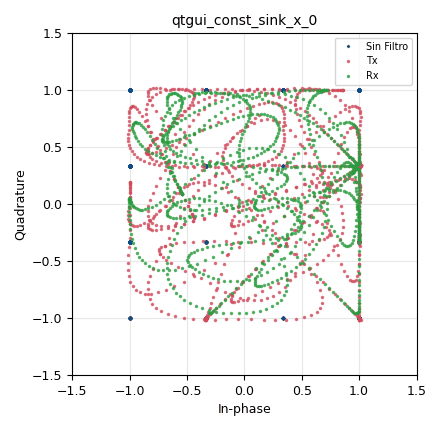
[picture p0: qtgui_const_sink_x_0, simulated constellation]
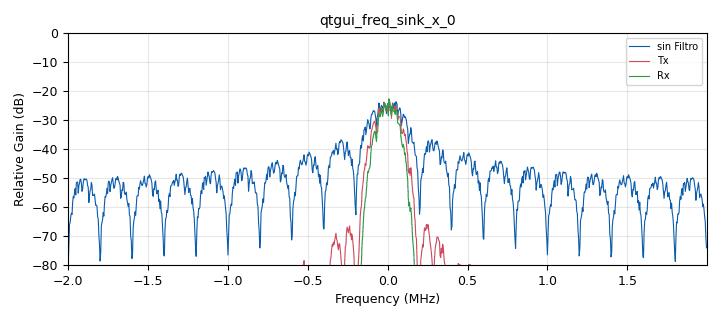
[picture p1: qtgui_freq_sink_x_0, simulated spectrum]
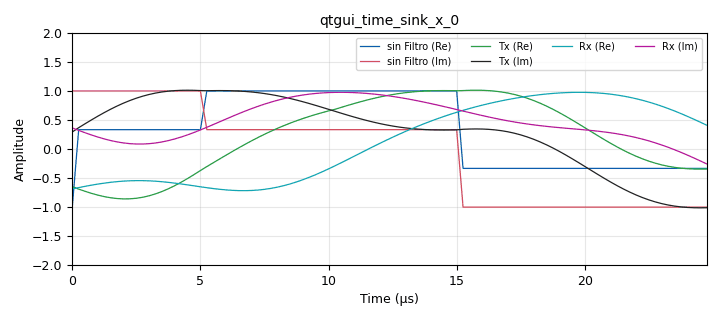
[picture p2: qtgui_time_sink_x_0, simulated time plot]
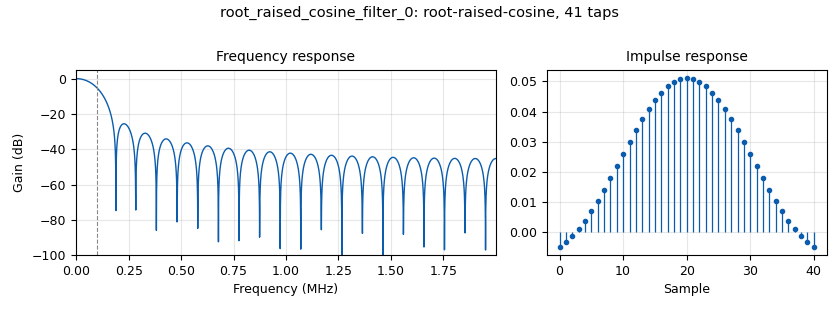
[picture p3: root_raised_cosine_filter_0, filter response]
options:
  parameters:
    author: Marcelo Doallo
    generate_options: qt_gui
    id: QPSK_QAM_Tx
    output_language: python
    title: QPSK - 16/64/1024-QAM Tx
  states: {}

blocks:
- name: Alpha
  id: variable
  parameters:
    value: '0.5'
  states: {}
- name: Freq
  id: variable_qtgui_entry
  parameters:
    gui_hint: 0,2,1,1
    label: 'Frec [MHz]:'
    type: real
    value: '40'
  states: {}
- name: IF_Gain
  id: variable_qtgui_range
  parameters:
    gui_hint: 0,0,1,1
    start: '0'
    step: '1'
    stop: '50'
    value: '0'
    widget: counter
  states: {}
- name: Mod
  id: variable_qtgui_chooser
  parameters:
    gui_hint: 0,3,1,1
    label: Tipo de Modulación
    label0: QPSK
    label1: 16-QAM
    label2: 64-QAM
    label3: 1024-QAM
    num_opts: '4'
    option0: '1'
    option1: '2'
    option2: '3'
    option3: '4'
    type: int
    value: '2'
  states: {}
- name: RF_Gain
  id: variable_qtgui_check_box
  parameters:
    'false': '0'
    gui_hint: 0,1,1,1
    label: RF Gain (13 dB)
    'true': '13'
    type: int
    value: 'False'
  states: {}
- name: samp_rate
  id: variable
  parameters:
    value: '4000000'
  states: {}
- name: sdr
  id: variable_qtgui_chooser
  parameters:
    gui_hint: 0,4,1,1
    label: Filtro RC
    label0: Sin
    label1: Con
    num_opts: '2'
    option0: '0'
    option1: '1'
    type: int
    value: '0'
  states: {}
- name: sps
  id: variable
  parameters:
    comment: Samples per symbol
    value: '20'
  states: {}
- name: taps
  id: variable
  parameters:
    value: sps*2
  states: {}
- name: analog_random_source_x_0
  id: analog_random_source_x
  parameters:
    max: '2'
    min: '0'
    num_samps: '1000'
    repeat: 'True'
    type: byte
  states: {}
- name: analog_random_source_x_0_0
  id: analog_random_source_x
  parameters:
    max: '4'
    min: '0'
    num_samps: '1000'
    repeat: 'True'
    type: byte
  states: {}
- name: analog_random_source_x_0_0_0
  id: analog_random_source_x
  parameters:
    max: '8'
    min: '0'
    num_samps: '1000'
    repeat: 'True'
    type: byte
  states: {}
- name: analog_random_source_x_0_0_0_0
  id: analog_random_source_x
  parameters:
    max: '16'
    min: '0'
    num_samps: '1000'
    repeat: 'True'
    type: byte
  states: {}
- name: blocks_add_const_vxx_0
  id: blocks_add_const_vxx
  parameters:
    const: '-1-1j'
    type: complex
  states: {}
- name: blocks_char_to_float_0
  id: blocks_char_to_float
  parameters:
    scale: (2**Mod-1)/2
  states: {}
- name: blocks_char_to_float_0_0
  id: blocks_char_to_float
  parameters:
    scale: (2**Mod-1)/2
  states: {}
- name: blocks_deinterleave_0
  id: blocks_deinterleave
  parameters:
    type: byte
  states: {}
- name: blocks_float_to_complex_1
  id: blocks_float_to_complex
  parameters: {}
  states: {}
- name: blocks_repeat_0
  id: blocks_repeat
  parameters:
    interp: sps
    type: complex
  states: {}
- name: blocks_selector_0
  id: blocks_selector
  parameters:
    enabled: 'True'
    input_index: Mod-1
    num_inputs: '4'
    num_outputs: '1'
    output_index: '0'
    type: byte
  states: {}
- name: blocks_selector_0_0
  id: blocks_selector
  parameters:
    enabled: 'True'
    input_index: sdr
    num_inputs: '2'
    num_outputs: '1'
    output_index: '0'
    type: complex
  states: {}
- name: osmosdr_sink_0
  id: osmosdr_sink
  parameters:
    bb_gain0: '0'
    freq0: Freq*1e6
    gain0: RF_Gain
    if_gain0: IF_Gain
    sample_rate: samp_rate
    sync: pc_clock
    type: fc32
  states: {}
- name: qtgui_const_sink_x_0
  id: qtgui_const_sink_x
  parameters:
    grid: 'True'
    gui_hint: tab@2:0,0,1,1
    label1: Sin Filtro
    label2: Tx
    label3: Rx
    nconnections: '3'
    size: '1024'
    style1: '1'
    type: complex
    xmax: '1.5'
    xmin: '-1.5'
    ymax: '1.5'
    ymin: '-1.5'
  states: {}
- name: qtgui_freq_sink_x_0
  id: qtgui_freq_sink_x
  parameters:
    average: '0.05'
    bw: samp_rate
    ctrlpanel: 'True'
    fc: '0'
    fftsize: '1024'
    gui_hint: tab@1:0,0,1,1
    label1: sin Filtro
    label2: Tx
    label3: Rx
    nconnections: '3'
    type: complex
    ymax: '0'
    ymin: '-80'
  states: {}
- name: qtgui_time_sink_x_0
  id: qtgui_time_sink_x
  parameters:
    ctrlpanel: 'True'
    gui_hint: tab@0:0,0,1,1
    label1: sin Filtro (Re)
    label2: sin Filtro (Im)
    label3: Tx (Re)
    label4: Tx (Im)
    label5: Rx (Re)
    label6: Rx (Im)
    nconnections: '3'
    size: sps*5
    srate: samp_rate
    tr_mode: qtgui.TRIG_MODE_AUTO
    type: complex
    ymax: '2'
    ymin: '-2'
  states: {}
- name: root_raised_cosine_filter_0
  id: root_raised_cosine_filter
  parameters:
    alpha: Alpha
    gain: '1'
    interp: '1'
    ntaps: taps
    samp_rate: samp_rate
    sym_rate: samp_rate/sps
    type: interp_fir_filter_ccf
  states: {}
- name: root_raised_cosine_filter_0_0
  id: root_raised_cosine_filter
  parameters:
    alpha: Alpha
    decim: '1'
    gain: '1'
    ntaps: taps
    samp_rate: samp_rate
    sym_rate: samp_rate/sps
    type: fir_filter_ccf
  states: {}
- name: tab
  id: qtgui_tab_widget
  parameters:
    gui_hint: 1,0,5,5
    label0: Tiempo
    label1: Espectro
    label2: Constelación
    num_tabs: '3'
  states: {}
- name: virtual_sink_0
  id: virtual_sink
  parameters:
    stream_id: sigue
  states: {}
- name: virtual_sink_0_1
  id: virtual_sink
  parameters:
    stream_id: sigue_2
  states: {}
- name: virtual_sink_0_1_0
  id: virtual_sink
  parameters:
    stream_id: con_RRCF
  states: {}
- name: virtual_sink_0_1_0_0
  id: virtual_sink
  parameters:
    stream_id: con_2RRCF
  states: {}
- name: virtual_sink_0_1_0_1
  id: virtual_sink
  parameters:
    stream_id: sin_filtro
  states: {}
- name: virtual_source_0
  id: virtual_source
  parameters:
    stream_id: sigue
  states: {}
- name: virtual_source_0_1
  id: virtual_source
  parameters:
    stream_id: sigue_2
  states: {}
- name: virtual_source_0_1_0
  id: virtual_source
  parameters:
    stream_id: con_RRCF
  states: {}
- name: virtual_source_0_1_0_0
  id: virtual_source
  parameters:
    stream_id: con_RRCF
  states: {}
- name: virtual_source_0_1_0_1
  id: virtual_source
  parameters:
    stream_id: con_RRCF
  states: {}
- name: virtual_source_0_1_0_1_0
  id: virtual_source
  parameters:
    stream_id: con_2RRCF
  states: {}
- name: virtual_source_0_1_0_1_0_0
  id: virtual_source
  parameters:
    stream_id: con_2RRCF
  states: {}
- name: virtual_source_0_1_0_1_1
  id: virtual_source
  parameters:
    stream_id: con_RRCF
  states: {}
- name: virtual_source_0_1_1
  id: virtual_source
  parameters:
    stream_id: sin_filtro
  states: {}
- name: virtual_source_0_1_1_0
  id: virtual_source
  parameters:
    stream_id: sin_filtro
  states: {}

connections:
- [analog_random_source_x_0, '0', blocks_selector_0, '0']
- [analog_random_source_x_0_0, '0', blocks_selector_0, '1']
- [analog_random_source_x_0_0_0, '0', blocks_selector_0, '2']
- [analog_random_source_x_0_0_0_0, '0', blocks_selector_0, '3']
- [blocks_add_const_vxx_0, '0', blocks_repeat_0, '0']
- [blocks_char_to_float_0, '0', blocks_float_to_complex_1, '0']
- [blocks_char_to_float_0_0, '0', blocks_float_to_complex_1, '1']
- [blocks_deinterleave_0, '0', blocks_char_to_float_0, '0']
- [blocks_deinterleave_0, '1', blocks_char_to_float_0_0, '0']
- [blocks_float_to_complex_1, '0', virtual_sink_0, '0']
- [blocks_repeat_0, '0', qtgui_time_sink_x_0, '0']
- [blocks_repeat_0, '0', virtual_sink_0_1, '0']
- [blocks_selector_0, '0', blocks_deinterleave_0, '0']
- [blocks_selector_0_0, '0', osmosdr_sink_0, '0']
- [root_raised_cosine_filter_0, '0', root_raised_cosine_filter_0_0, '0']
- [root_raised_cosine_filter_0, '0', virtual_sink_0_1_0, '0']
- [root_raised_cosine_filter_0_0, '0', qtgui_time_sink_x_0, '2']
- [root_raised_cosine_filter_0_0, '0', virtual_sink_0_1_0_0, '0']
- [virtual_source_0, '0', blocks_add_const_vxx_0, '0']
- [virtual_source_0_1, '0', blocks_selector_0_0, '0']
- [virtual_source_0_1, '0', root_raised_cosine_filter_0, '0']
- [virtual_source_0_1, '0', virtual_sink_0_1_0_1, '0']
- [virtual_source_0_1_0, '0', qtgui_time_sink_x_0, '1']
- [virtual_source_0_1_0_0, '0', qtgui_freq_sink_x_0, '1']
- [virtual_source_0_1_0_1, '0', qtgui_const_sink_x_0, '1']
- [virtual_source_0_1_0_1_0, '0', qtgui_const_sink_x_0, '2']
- [virtual_source_0_1_0_1_0_0, '0', qtgui_freq_sink_x_0, '2']
- [virtual_source_0_1_0_1_1, '0', blocks_selector_0_0, '1']
- [virtual_source_0_1_1, '0', qtgui_const_sink_x_0, '0']
- [virtual_source_0_1_1_0, '0', qtgui_freq_sink_x_0, '0']

metadata:
  file_format: 1
